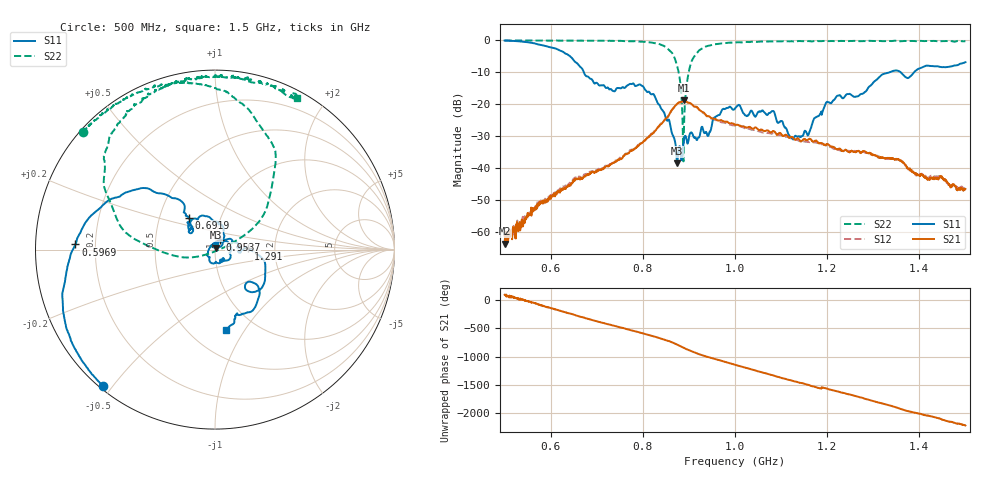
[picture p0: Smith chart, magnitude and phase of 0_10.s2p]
!Agilent Technologies,E8364B,US42250235,A.06.04.32
!Agilent E8364B: A.06.04.32
!Date: Friday, January 15, 2021 14:19:50
!Correction: S11(Full 2 Port(1,2)) S21(Full 2 Port(1,2)) S12(Full 2 Port(1,2)) S22(Full 2 Port(1,2))
!S2P File: Measurements: S11, S21, S12, S22:
# Hz S  dB  R 50
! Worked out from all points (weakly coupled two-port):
!   1601 points, 500 MHz to 1.5 GHz, reference 50 ohm
!   highest |S21| = -18.82 dB at 889.4 MHz (marker M1); lowest = -63.5 dB at 501.2 MHz (marker M2)
!   lowest |S11| = -38.5 dB at 874.4 MHz (marker M3), VSWR 1.02, Z = 50.5 + j1.08 ohm
!   |S11| at or under -10 dB: 671.9 MHz to 1.336 GHz (664.3 MHz wide, 66.2 % of centre); 1.359 GHz to 1.389 GHz (29.47 MHz wide, 2.14 % of centre)
!   |S22| runs from -37.9 to -0.1 dB; largest |S21 - S12| = 0.024
!   S11 on the Smith chart (normalised r, x): 500 MHz: 0.01, -0.47; 596.9 MHz: 0.12, +0.02; 691.9 MHz: 0.71, +0.26; 953.8 MHz: 1.05, +0.11; 1.291 GHz: 1.46, +0.02; 1.5 GHz: 0.74, -0.83
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5e8  -0.14 -129.2  -61.11 87.2  -64.32 95.5  -0.13 138.4
5.0125e8  -0.15 -129.7  -63.55 86.7  -62.91 94.7  -0.13 138.2
5.96875e8  -2.18 177.9  -49.68 -135.7  -49.55 -125.9  -0.13 129.7
6.66875e8  -8.69 128.8  -43.07 55.9  -42.63 65.1  -0.16 121.5
6.91875e8  -12.86 129.3  -41.04 -3.5  -40.92 6.3  -0.20 118.4
7.95625e8  -14.01 108.3  -32.21 137.9  -32.22 148.2  -0.49 100.5
8.3375e8  -20.05 63.0  -27.10 51.1  -26.96 61.7  -1.15 85.2
8.74375e8  -38.48 63.3  -19.91 -69.2  -20.05 -57.7  -8.07 41.3
8.85e8  -36.70 119.9  -19.17 -109.5  -19.31 -97.8  -20.58 20.1
8.89375e8  -31.11 123.5  -18.82 -127.2  -18.93 -115.1  -26.41 -148.5
8.975e8  -32.22 99.6  -19.50 -158.7  -19.52 -145.8  -11.65 -174.6
9.06875e8  -29.18 95.7  -20.12 168.5  -20.22 -178.8  -6.27 170.6
9.43125e8  -29.42 68.1  -23.82 69.4  -24.14 80.8  -1.76 138.5
9.5375e8  -24.38 63.4  -24.51 45.4  -24.79 56.7  -1.35 133.5
1e9  -21.33 -15.1  -26.40 -64.2  -26.77 -49.1  -0.78 120.0
1.081875e9  -22.17 -98.7  -28.42 111.5  -29.17 126.5  -0.45 106.7
1.12375e9  -30.58 148.8  -30.22 14.4  -30.83 32.4  -0.37 102.0
1.166875e9  -26.42 64.2  -31.48 -80.8  -31.96 -58.7  -0.37 96.6
1.2e9  -19.24 29.1  -32.51 -125.0  -33.04 -134.4  -0.32 94.0
1.290625e9  -14.59 2.0  -35.28 38.7  -35.43 29.1  -0.24 83.7
1.33375e9  -10.14 -26.2  -36.88 -56.9  -36.90 -64.4  -0.27 79.3
1.5e9  -6.91 -82.0  -46.49 -52.5  -46.21 -62.8  -0.33 61.6
